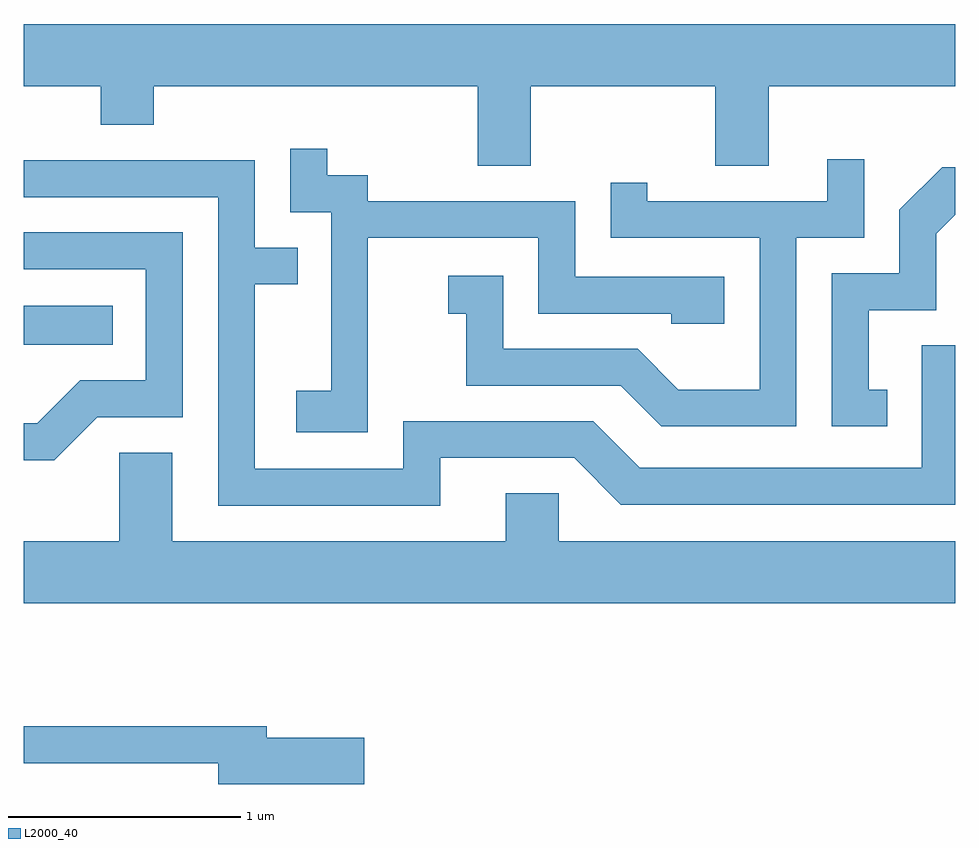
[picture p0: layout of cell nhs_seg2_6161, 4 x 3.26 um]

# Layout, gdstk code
import gdstk
lib = gdstk.Library(unit=1e-6, precision=1e-09)
def R(c, l, rs):  # rectangles x0, y0, x1, y1
    for r in rs: c.add(gdstk.rectangle(r[:2], r[2:], *l))
def P(c, l, *ps):  # polygons
    for p in ps: c.add(gdstk.Polygon(p, *l))
L2000_40 = (2000, 40)

nhs_seg2_6161 = lib.new_cell('nhs_seg2_6161')
R(nhs_seg2_6161, L2000_40, [(367.611,993.926,367.993,994.094)])
P(nhs_seg2_6161, L2000_40, [(369.789,995.036),(370.581,995.036),(370.581,994.696),(370.809,994.696),(370.809,995.036),(371.611,995.036),(371.611,995.304),(367.611,995.304),(367.611,995.036),(367.941,995.036),(367.941,994.871),(368.169,994.871),(368.169,995.036),(369.561,995.036),(369.561,994.696),(369.789,994.696)],
  [(369.089,994.386),(369.821,994.386),(369.821,994.061),(370.391,994.061),(370.391,994.016),(370.619,994.016),(370.619,994.219),(369.979,994.219),(369.979,994.544),(369.089,994.544),(369.089,994.654),(368.914,994.654),(368.914,994.768),(368.756,994.768),(368.756,994.496),(368.931,994.496),(368.931,993.729),(368.781,993.729),(368.781,993.551),(369.089,993.551)],
  [(370.929,994.386),(371.219,994.386),(371.219,994.723),(371.061,994.723),(371.061,994.544),(370.289,994.544),(370.289,994.623),(370.131,994.623),(370.131,994.386),(370.771,994.386),(370.771,993.734),(370.422,993.734),(370.247,993.909),(369.669,993.909),(369.669,994.224),(369.433,994.224),(369.433,994.061),(369.511,994.061),(369.511,993.751),(370.174,993.751),(370.349,993.576),(370.929,993.576)],
  [(369.399,993.441),(369.974,993.441),(370.174,993.241),(371.611,993.241),(371.611,993.924),(371.466,993.924),(371.466,993.399),(370.257,993.399),(370.057,993.599),(369.241,993.599),(369.241,993.394),(368.604,993.394),(368.604,994.186),(368.788,994.186),(368.788,994.344),(368.604,994.344),(368.604,994.719),(367.611,994.719),(367.611,994.561),(368.446,994.561),(368.446,993.236),(369.399,993.236)],
  [(371.318,993.734),(371.239,993.734),(371.239,994.076),(371.529,994.076),(371.529,994.404),(371.611,994.485),(371.611,994.689),(371.554,994.689),(371.371,994.507),(371.371,994.234),(371.081,994.234),(371.081,993.576),(371.318,993.576)],
  [(367.927,993.616),(368.294,993.616),(368.294,994.409),(367.611,994.409),(367.611,994.251),(368.136,994.251),(368.136,993.774),(367.854,993.774),(367.669,993.589),(367.611,993.589),(367.611,993.431),(367.742,993.431)],
  [(371.611,993.084),(369.909,993.084),(369.909,993.289),(369.681,993.289),(369.681,993.084),(368.249,993.084),(368.249,993.464),(368.021,993.464),(368.021,993.084),(367.611,993.084),(367.611,992.816),(371.611,992.816)],
  [(369.074,992.239),(368.654,992.239),(368.654,992.289),(367.611,992.289),(367.611,992.131),(368.446,992.131),(368.446,992.041),(369.074,992.041)])

lib.write_gds('nhs_seg2_6161.gds')
